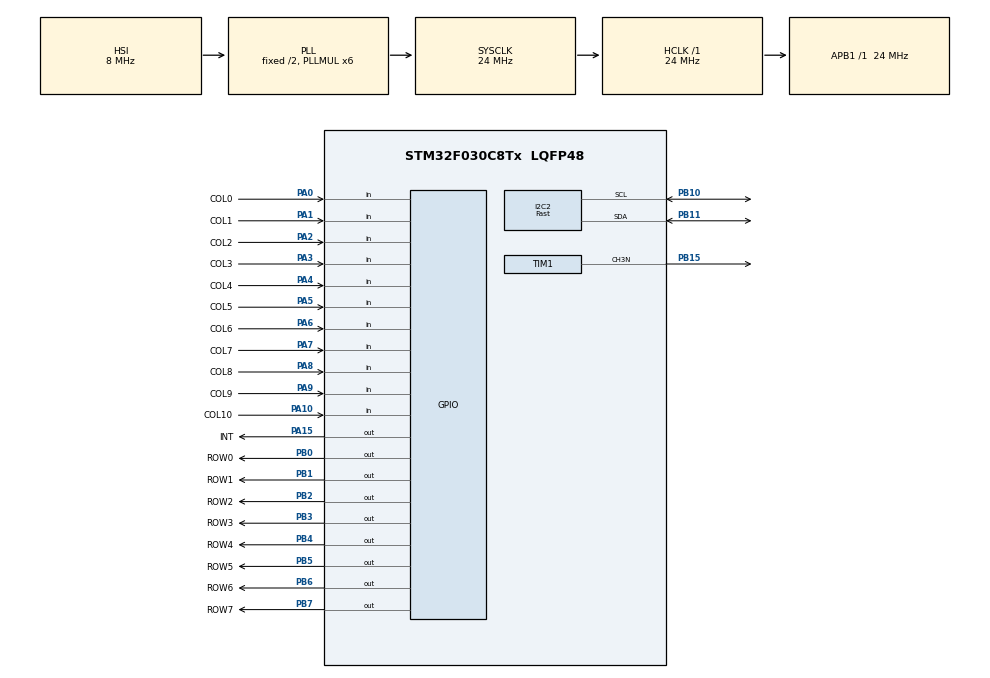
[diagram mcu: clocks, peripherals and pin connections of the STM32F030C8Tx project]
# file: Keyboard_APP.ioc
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Dma.Request0=TIM1_CH3/UP
Dma.TIM1_CH3/UP.0.Direction=DMA_MEMORY_TO_PERIPH
Dma.TIM1_CH3/UP.0.Instance=DMA1_Channel5
Dma.TIM1_CH3/UP.0.MemDataAlignment=DMA_MDATAALIGN_HALFWORD
Dma.TIM1_CH3/UP.0.MemInc=DMA_MINC_ENABLE
Dma.TIM1_CH3/UP.0.Mode=DMA_NORMAL
Dma.TIM1_CH3/UP.0.PeriphDataAlignment=DMA_PDATAALIGN_HALFWORD
Dma.TIM1_CH3/UP.0.PeriphInc=DMA_PINC_DISABLE
Dma.TIM1_CH3/UP.0.Priority=DMA_PRIORITY_LOW
I2C2.I2C_Speed_Mode=I2C_Fast
I2C2.OwnAddress=0x6D<<1
I2C2.Timing=0x0040131C
IWDG.Prescaler=IWDG_PRESCALER_64
Mcu.Family=STM32F0
Mcu.Name=STM32F030C8Tx
Mcu.Package=LQFP48
NVIC.DMA1_Channel4_5_IRQn=true\:1\:0\:true\:false\:true\:false\:true\:true
NVIC.I2C2_IRQn=true\:0\:0\:false\:false\:true\:true\:true\:true
NVIC.TIM6_IRQn=true\:2\:0\:true\:false\:true\:true\:true\:true
PA0.GPIO_Label=COL0
PA0.GPIO_PuPd=GPIO_PULLDOWN
PA0.Signal=GPIO_Input
PA1.GPIO_Label=COL1
PA1.GPIO_PuPd=GPIO_PULLDOWN
PA1.Signal=GPIO_Input
PA10.GPIO_Label=COL10
PA10.GPIO_PuPd=GPIO_PULLUP
PA10.Signal=GPIO_Input
PA15.GPIO_Label=INT
PA15.PinState=GPIO_PIN_SET
PA15.Signal=GPIO_Output
PA2.GPIO_Label=COL2
PA2.GPIO_PuPd=GPIO_PULLDOWN
PA2.Signal=GPIO_Input
PA3.GPIO_Label=COL3
PA3.GPIO_PuPd=GPIO_PULLDOWN
PA3.Signal=GPIO_Input
PA4.GPIO_Label=COL4
PA4.GPIO_PuPd=GPIO_PULLDOWN
PA4.Signal=GPIO_Input
PA5.GPIO_Label=COL5
PA5.GPIO_PuPd=GPIO_PULLDOWN
PA5.Signal=GPIO_Input
PA6.GPIO_Label=COL6
PA6.GPIO_PuPd=GPIO_PULLDOWN
PA6.Signal=GPIO_Input
PA7.GPIO_Label=COL7
PA7.GPIO_PuPd=GPIO_PULLDOWN
PA7.Signal=GPIO_Input
PA8.GPIO_Label=COL8
PA8.GPIO_PuPd=GPIO_PULLDOWN
PA8.Signal=GPIO_Input
PA9.GPIO_Label=COL9
PA9.GPIO_PuPd=GPIO_PULLUP
PA9.Signal=GPIO_Input
PB0.GPIO_Label=ROW0
PB0.PinState=GPIO_PIN_RESET
PB0.Signal=GPIO_Output
PB1.GPIO_Label=ROW1
PB1.PinState=GPIO_PIN_RESET
PB1.Signal=GPIO_Output
PB10.Mode=I2C
PB10.Signal=I2C2_SCL
PB11.Mode=I2C
PB11.Signal=I2C2_SDA
PB15.Mode=PWM Generation3 CH3N
PB15.Signal=TIM1_CH3N
PB2.GPIO_Label=ROW2
PB2.PinState=GPIO_PIN_RESET
PB2.Signal=GPIO_Output
PB3.GPIO_Label=ROW3
PB3.PinState=GPIO_PIN_RESET
PB3.Signal=GPIO_Output
PB4.GPIO_Label=ROW4
PB4.PinState=GPIO_PIN_RESET
PB4.Signal=GPIO_Output
PB5.GPIO_Label=ROW5
PB5.PinState=GPIO_PIN_RESET
PB5.Signal=GPIO_Output
PB6.GPIO_Label=ROW6
PB6.PinState=GPIO_PIN_RESET
PB6.Signal=GPIO_Output
PB7.GPIO_Label=ROW7
PB7.PinState=GPIO_PIN_RESET
PB7.Signal=GPIO_Output
ProjectManager.HeapSize=0x200
ProjectManager.StackSize=0x400
ProjectManager.TargetToolchain=STM32CubeIDE
RCC.AHBFreq_Value=24000000
RCC.APB1Freq_Value=24000000
RCC.APB1TimFreq_Value=24000000
RCC.HCLKFreq_Value=24000000
RCC.PLLMUL=RCC_PLL_MUL6
RCC.SYSCLKFreq_VALUE=24000000
RCC.SYSCLKSource=RCC_SYSCLKSOURCE_PLLCLK
TIM1.Channel-PWM\ Generation3\ CH3N=TIM_CHANNEL_3
TIM1.Period=29
TIM6.AutoReloadPreload=TIM_AUTORELOAD_PRELOAD_ENABLE
TIM6.Period=2999
TIM6.Prescaler=23
VP_IWDG_VS_IWDG.Mode=IWDG_Activate
VP_TIM1_VS_ClockSourceINT.Mode=Internal
VP_TIM6_VS_ClockSourceINT.Mode=Enable_Timer
board=custom

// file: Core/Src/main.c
/* USER CODE BEGIN Header */
/**
 ******************************************************************************
 * @file           : main.c
 * @brief          : Main program body
 ******************************************************************************
 * @attention
 *
 * Copyright (c) 2025 STMicroelectronics.
 * All rights reserved.
 *
 * This software is licensed under terms that can be found in the LICENSE file
 * in the root directory of this software component.
 * If no LICENSE file comes with this software, it is provided AS-IS.
 *
 ******************************************************************************
 */
/* USER CODE END Header */
#include "main.h"
#include "dma.h"
#include "i2c.h"
#include "iwdg.h"
#include "tim.h"
#include "gpio.h"

/* USER CODE BEGIN Includes */

#include "user_i2c.h"
#include "user_i2c_callback.h"
#include "user_sys.h"
#include "user_scan_handle.h"
#include "user_rgb.h"
#include "user_flash.h"
#include "user_int.h"
#include "user_char_fifo.h"
#include "user_hid_fifo.h"
#include "user_event_fifo.h"

/* USER CODE END Includes */

void SystemClock_Config(void);

/* USER CODE BEGIN 0 */

void iap_set(void)
{
    uint8_t i;                                     // Loop index
    uint32_t *pVecTab = (uint32_t *)(0x20000000);  // Pointer to the vector table in SRAM

    // Copy the interrupt vector table from the application address to SRAM
    for (i = 0; i < 48; i++) {
        // Copy each vector entry to the SRAM vector table
        *(pVecTab++) = *(__IO uint32_t *)(APPLICATION_ADDRESS + (i << 2));
    }

    // Enable the SYSCFG peripheral clock
    __HAL_RCC_SYSCFG_CLK_ENABLE();

    // Remap the memory to use SRAM for the vector table
    __HAL_SYSCFG_REMAPMEMORY_SRAM();
}

void reg_init(void)
{
    keyboard_intr_config_reg.value = 0x07;

    keyboard_intr_status_reg.value = 0x00;

    key_event_reg.value = 0x00;

    rgb_brightness_reg = RGB_BRIGHTNESS_DEFAULT;

    firmware_version_reg = FIRMWARE_VERSION;

    if (get_i2c_addr() == FLASH_DEFAULT_DATA) {
        i2c_addr_reg = I2C_ADDR_REG_DEFAULT;
        set_i2c_addr(I2C_ADDR_REG_DEFAULT);
    } else {
        i2c_addr_reg = get_i2c_addr();
    }
}

/* USER CODE END 0 */

int main(void)
{
    /* USER CODE BEGIN 1 */
    iap_set();
    reg_init();
    /* USER CODE END 1 */

    /* MCU Configuration--------------------------------------------------------*/

    /* Reset of all peripherals, Initializes the Flash interface and the Systick. */
    HAL_Init();

    /* Configure the system clock */
    SystemClock_Config();

    /* Initialize all configured peripherals */
    MX_GPIO_Init();
    MX_DMA_Init();
    MX_I2C2_Init();
    MX_IWDG_Init();
    MX_TIM1_Init();
    MX_TIM6_Init();
    /* USER CODE BEGIN 2 */
    event_fifo_init();
    hid_fifo_init();
    char_fifo_init();
    keyboard_init();
    user_i2c_init();
    i2c2_it_enable();
    HAL_TIM_Base_Start_IT(&htim6);
    /* USER CODE END 2 */

    /* Infinite loop */
    /* USER CODE BEGIN WHILE */

    while (1) {
        i2c_timeout_handler();
        keyboard_update();
        rgb_update();
        user_keyboard_update();
        /* USER CODE END WHILE */

        /* USER CODE BEGIN 3 */
        LL_IWDG_ReloadCounter(IWDG);
    }
    /* USER CODE END 3 */
}

void SystemClock_Config(void)
{
    RCC_OscInitTypeDef RCC_OscInitStruct = {0};
    RCC_ClkInitTypeDef RCC_ClkInitStruct = {0};

    /** Initializes the RCC Oscillators according to the specified parameters
     * in the RCC_OscInitTypeDef structure.
     */
    RCC_OscInitStruct.OscillatorType      = RCC_OSCILLATORTYPE_HSI | RCC_OSCILLATORTYPE_LSI;
    RCC_OscInitStruct.HSIState            = RCC_HSI_ON;
    RCC_OscInitStruct.HSICalibrationValue = RCC_HSICALIBRATION_DEFAULT;
    RCC_OscInitStruct.LSIState            = RCC_LSI_ON;
    RCC_OscInitStruct.PLL.PLLState        = RCC_PLL_ON;
    RCC_OscInitStruct.PLL.PLLSource       = RCC_PLLSOURCE_HSI;
    RCC_OscInitStruct.PLL.PLLMUL          = RCC_PLL_MUL6;
    RCC_OscInitStruct.PLL.PREDIV          = RCC_PREDIV_DIV1;
    if (HAL_RCC_OscConfig(&RCC_OscInitStruct) != HAL_OK) {
        Error_Handler();
    }

    /** Initializes the CPU, AHB and APB buses clocks
     */
    RCC_ClkInitStruct.ClockType      = RCC_CLOCKTYPE_HCLK | RCC_CLOCKTYPE_SYSCLK | RCC_CLOCKTYPE_PCLK1;
    RCC_ClkInitStruct.SYSCLKSource   = RCC_SYSCLKSOURCE_PLLCLK;
    RCC_ClkInitStruct.AHBCLKDivider  = RCC_SYSCLK_DIV1;
    RCC_ClkInitStruct.APB1CLKDivider = RCC_HCLK_DIV1;

    if (HAL_RCC_ClockConfig(&RCC_ClkInitStruct, FLASH_LATENCY_0) != HAL_OK) {
        Error_Handler();
    }
}

void Error_Handler(void)
{
    __disable_irq();
    while (1) {
    }
}
